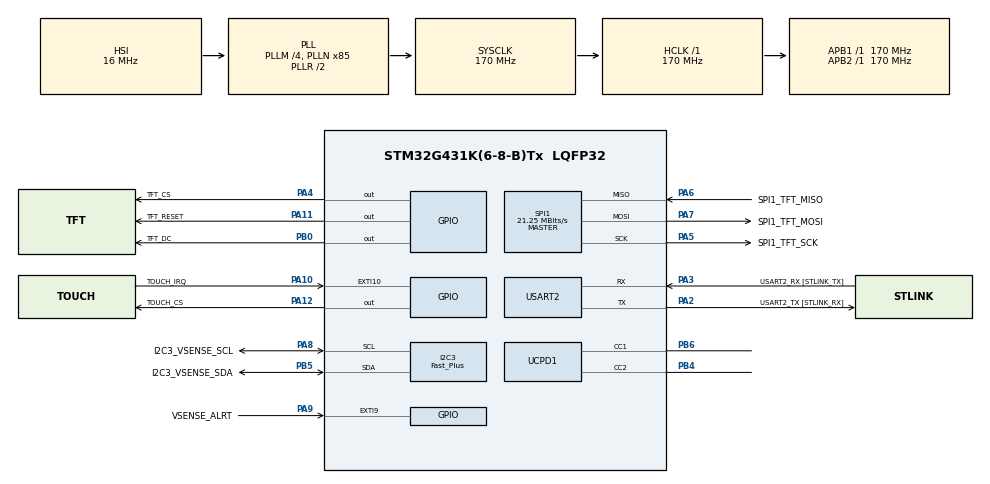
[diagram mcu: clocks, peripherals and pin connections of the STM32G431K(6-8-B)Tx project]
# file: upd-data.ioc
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Dma.Request0=UCPD1_RX
Dma.Request1=UCPD1_TX
Dma.Request2=SPI1_TX
Dma.SPI1_TX.2.Direction=DMA_MEMORY_TO_PERIPH
Dma.SPI1_TX.2.EventEnable=DISABLE
Dma.SPI1_TX.2.Instance=DMA1_Channel4
Dma.SPI1_TX.2.MemDataAlignment=DMA_MDATAALIGN_BYTE
Dma.SPI1_TX.2.MemInc=DMA_MINC_ENABLE
Dma.SPI1_TX.2.Mode=DMA_NORMAL
Dma.SPI1_TX.2.PeriphDataAlignment=DMA_PDATAALIGN_BYTE
Dma.SPI1_TX.2.PeriphInc=DMA_PINC_DISABLE
Dma.SPI1_TX.2.Polarity=HAL_DMAMUX_REQ_GEN_RISING
Dma.SPI1_TX.2.Priority=DMA_PRIORITY_LOW
Dma.SPI1_TX.2.RequestNumber=1
Dma.SPI1_TX.2.SignalID=NONE
Dma.SPI1_TX.2.SyncEnable=DISABLE
Dma.SPI1_TX.2.SyncPolarity=HAL_DMAMUX_SYNC_NO_EVENT
Dma.SPI1_TX.2.SyncRequestNumber=1
Dma.SPI1_TX.2.SyncSignalID=NONE
Dma.UCPD1_RX.0.Direction=DMA_PERIPH_TO_MEMORY
Dma.UCPD1_RX.0.EventEnable=DISABLE
Dma.UCPD1_RX.0.Instance=DMA1_Channel1
Dma.UCPD1_RX.0.MemDataAlignment=DMA_MDATAALIGN_BYTE
Dma.UCPD1_RX.0.MemInc=DMA_MINC_ENABLE
Dma.UCPD1_RX.0.Mode=DMA_NORMAL
Dma.UCPD1_RX.0.PeriphDataAlignment=DMA_PDATAALIGN_BYTE
Dma.UCPD1_RX.0.PeriphInc=DMA_PINC_DISABLE
Dma.UCPD1_RX.0.Polarity=HAL_DMAMUX_REQ_GEN_RISING
Dma.UCPD1_RX.0.Priority=DMA_PRIORITY_LOW
Dma.UCPD1_RX.0.RequestNumber=1
Dma.UCPD1_RX.0.SignalID=NONE
Dma.UCPD1_RX.0.SyncEnable=DISABLE
Dma.UCPD1_RX.0.SyncPolarity=HAL_DMAMUX_SYNC_NO_EVENT
Dma.UCPD1_RX.0.SyncRequestNumber=1
Dma.UCPD1_RX.0.SyncSignalID=NONE
Dma.UCPD1_TX.1.Direction=DMA_MEMORY_TO_PERIPH
Dma.UCPD1_TX.1.EventEnable=DISABLE
Dma.UCPD1_TX.1.Instance=DMA1_Channel2
Dma.UCPD1_TX.1.MemDataAlignment=DMA_MDATAALIGN_BYTE
Dma.UCPD1_TX.1.MemInc=DMA_MINC_ENABLE
Dma.UCPD1_TX.1.Mode=DMA_NORMAL
Dma.UCPD1_TX.1.PeriphDataAlignment=DMA_PDATAALIGN_BYTE
Dma.UCPD1_TX.1.PeriphInc=DMA_PINC_DISABLE
Dma.UCPD1_TX.1.Polarity=HAL_DMAMUX_REQ_GEN_RISING
Dma.UCPD1_TX.1.Priority=DMA_PRIORITY_LOW
Dma.UCPD1_TX.1.RequestNumber=1
Dma.UCPD1_TX.1.SignalID=NONE
Dma.UCPD1_TX.1.SyncEnable=DISABLE
Dma.UCPD1_TX.1.SyncPolarity=HAL_DMAMUX_SYNC_NO_EVENT
Dma.UCPD1_TX.1.SyncRequestNumber=1
Dma.UCPD1_TX.1.SyncSignalID=NONE
FREERTOS.Tasks01=defaultTask,0,128,StartDefaultTask,Default,NULL
FREERTOS.configENABLE_BACKWARD_COMPATIBILITY=0
FREERTOS.configLIBRARY_MAX_SYSCALL_INTERRUPT_PRIORITY=3
FREERTOS.configTOTAL_HEAP_SIZE=5000
FREERTOS.configUSE_COUNTING_SEMAPHORES=1
FREERTOS.configUSE_TIMERS=0
I2C3.I2C_Speed_Mode=I2C_Fast_Plus
I2C3.Timing=0x00802172
Mcu.Family=STM32G4
Mcu.Name=STM32G431K(6-8-B)Tx
Mcu.Package=LQFP32
NVIC.DMA1_Channel1_IRQn=true\:3\:0\:false\:false\:true\:true\:false\:true
NVIC.DMA1_Channel2_IRQn=true\:3\:0\:false\:false\:true\:true\:false\:true
NVIC.DMA1_Channel4_IRQn=true\:3\:0\:false\:false\:true\:true\:false\:true
NVIC.EXTI15_10_IRQn=true\:3\:0\:false\:false\:true\:true\:true\:true
NVIC.I2C3_ER_IRQn=true\:3\:0\:false\:false\:true\:true\:true\:true
NVIC.I2C3_EV_IRQn=true\:3\:0\:false\:false\:true\:true\:true\:true
NVIC.PriorityGroup=NVIC_PRIORITYGROUP_4
NVIC.SPI1_IRQn=true\:3\:0\:false\:false\:true\:true\:true\:true
NVIC.TIM6_DAC_IRQn=true\:0\:0\:false\:false\:true\:false\:false\:true
NVIC.TimeBase=TIM6_DAC_IRQn
NVIC.TimeBaseIP=TIM6
NVIC.UCPD1_IRQn=true\:5\:0\:true\:false\:true\:true\:true\:false
PA10.GPIO_Label=TOUCH_IRQ
PA10.GPIO_ModeDefaultEXTI=GPIO_MODE_IT_RISING_FALLING
PA10.Signal=GPXTI10
PA11.GPIO_Label=TFT_RESET
PA11.GPIO_PuPd=GPIO_PULLUP
PA11.PinState=GPIO_PIN_SET
PA11.Signal=GPIO_Output
PA12.GPIO_Label=TOUCH_CS
PA12.GPIO_Speed=GPIO_SPEED_FREQ_VERY_HIGH
PA12.PinState=GPIO_PIN_SET
PA12.Signal=GPIO_Output
PA13.GPIO_Label=T_SWDIO
PA13.Mode=Serial_Wire
PA13.Signal=SYS_JTMS-SWDIO
PA14.GPIO_Label=T_SWCLK
PA14.Mode=Serial_Wire
PA14.Signal=SYS_JTCK-SWCLK
PA2.GPIO_Label=USART2_TX [STLINK_RX]
PA2.Mode=Asynchronous
PA2.Signal=USART2_TX
PA3.GPIO_Label=USART2_RX [STLINK_TX]
PA3.Mode=Asynchronous
PA3.Signal=USART2_RX
PA4.GPIO_Label=TFT_CS
PA4.GPIO_Speed=GPIO_SPEED_FREQ_VERY_HIGH
PA4.PinState=GPIO_PIN_SET
PA4.Signal=GPIO_Output
PA5.GPIO_Label=SPI1_TFT_SCK
PA5.GPIO_Speed=GPIO_SPEED_FREQ_VERY_HIGH
PA5.Mode=Full_Duplex_Master
PA5.Signal=SPI1_SCK
PA6.GPIO_Label=SPI1_TFT_MISO
PA6.GPIO_Speed=GPIO_SPEED_FREQ_VERY_HIGH
PA6.Mode=Full_Duplex_Master
PA6.Signal=SPI1_MISO
PA7.GPIO_Label=SPI1_TFT_MOSI
PA7.GPIO_Speed=GPIO_SPEED_FREQ_VERY_HIGH
PA7.Mode=Full_Duplex_Master
PA7.Signal=SPI1_MOSI
PA8.GPIO_Label=I2C3_VSENSE_SCL
PA8.GPIO_PuPdOD=GPIO_NOPULL
PA8.GPIO_Speed=GPIO_SPEED_FREQ_VERY_HIGH
PA8.Mode=I2C
PA8.Signal=I2C3_SCL
PA9.GPIO_Label=VSENSE_ALRT
PA9.GPIO_ModeDefaultEXTI=GPIO_MODE_IT_FALLING
PA9.Signal=GPXTI9
PB0.GPIO_Label=TFT_DC
PB0.GPIO_Speed=GPIO_SPEED_FREQ_VERY_HIGH
PB0.Signal=GPIO_Output
PB3.Signal=SYS_JTDO-SWO
PB4.Mode=Sink_AllSignals
PB4.Signal=UCPD1_CC2
PB5.GPIO_Label=I2C3_VSENSE_SDA
PB5.GPIO_PuPdOD=GPIO_NOPULL
PB5.GPIO_Speed=GPIO_SPEED_FREQ_VERY_HIGH
PB5.Mode=I2C
PB5.Signal=I2C3_SDA
PB6.Mode=Sink_AllSignals
PB6.Signal=UCPD1_CC1
ProjectManager.HeapSize=0x1000
ProjectManager.StackSize=0x400
ProjectManager.TargetToolchain=STM32CubeIDE
RCC.ADC12Freq_Value=170000000
RCC.AHBFreq_Value=170000000
RCC.APB1Freq_Value=170000000
RCC.APB1TimFreq_Value=170000000
RCC.APB2Freq_Value=170000000
RCC.APB2TimFreq_Value=170000000
RCC.CortexFreq_Value=170000000
RCC.EXTERNAL_CLOCK_VALUE=12288000
RCC.HCLKFreq_Value=170000000
RCC.HSE_VALUE=8000000
RCC.HSI48_VALUE=48000000
RCC.HSI_VALUE=16000000
RCC.LSE_VALUE=32768
RCC.PLLM=RCC_PLLM_DIV4
RCC.PLLN=85
RCC.SYSCLKFreq_VALUE=170000000
RCC.SYSCLKSource=RCC_SYSCLKSOURCE_PLLCLK
RCC.USBFreq_Value=170000000
RCC.VCOOutputFreq_Value=340000000
SPI1.BaudRatePrescaler=SPI_BAUDRATEPRESCALER_8
SPI1.CalculateBaudRate=21.25 MBits/s
SPI1.DataSize=SPI_DATASIZE_8BIT
SPI1.Direction=SPI_DIRECTION_2LINES
SPI1.Mode=SPI_MODE_MASTER
SPI1.NSSPMode=SPI_NSS_PULSE_DISABLE
SPI1.VirtualType=VM_MASTER
USART2.VirtualMode-Asynchronous=VM_ASYNC
USART2.WordLength=WORDLENGTH_8B
USBPD.CAD_AccesorySupport_P0=USBPD_TRUE
USBPD.Is_Alert_Supported_P0=USBPD_TRUE
USBPD.Is_GetPPSStatus_Supported_P0=USBPD_TRUE
USBPD.Is_GetStatus_Supported_P0=USBPD_TRUE
USBPD.Is_SnkCapaExt_Supported_P0=USBPD_TRUE
USBPD.Is_SrcCapaExt_Supported_P0=USBPD_TRUE
USBPD.PE_AttemptsDiscovSOP_P0=USBPD_TRUE
USBPD.PE_CapscounterSupport_P0=USBPD_TRUE
USBPD.PE_RespondsToDiscovSOP_P0=USBPD_TRUE
USBPD.PE_SpecRevision_P0=USBPD_SPECIFICATION_REV3
USBPD.PE_VconnSwap_P0=USBPD_FALSE
USBPD.PORT0_NB_SINKPDO=2
USBPD.PORT0_SINK_PDO1=0x26019096
USBPD.PORT0_SINK_PDO2=0x02019096
VP_FREERTOS_VS_CMSIS_V1.Mode=CMSIS_V1
VP_SYS_VS_DBSignals.Mode=DisableDeadBatterySignals
VP_SYS_VS_tim6.Mode=TIM6
VP_USBPD_VS_USBPD1.Mode=USBPD_P0
VP_USBPD_VS_usbpd_tim1.Mode=TIM1
board=NUCLEO-G431KB

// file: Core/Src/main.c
/* USER CODE BEGIN Header */
/**
  ******************************************************************************
  * @file           : main.c
  * @brief          : Main program body
  ******************************************************************************
  * @attention
  *
  * <h2><center>&copy; Copyright (c) 2020 STMicroelectronics.
  * All rights reserved.</center></h2>
  *
  * This software component is licensed by ST under Ultimate Liberty license
  * SLA0044, the "License"; You may not use this file except in compliance with
  * the License. You may obtain a copy of the License at:
  *                             www.st.com/SLA0044
  *
  ******************************************************************************
  */
/* USER CODE END Header */

#include "main.h"
#include "cmsis_os.h"
#include "dma.h"
#include "i2c.h"
#include "spi.h"
#include "ucpd.h"
#include "usart.h"
#include "usbpd.h"
#include "gpio.h"

/* USER CODE BEGIN Includes */
#if defined(_GUI_INTERFACE)
#include "gui_api.h"
#endif
/* USER CODE END Includes */

/* USER CODE BEGIN PV */
extern osThreadId screenTaskHandle;

ili9341_t *_lcd;
ina260_t *_pow;
/* USER CODE END PV */

void SystemClock_Config(void);
void MX_FREERTOS_Init(void);

/* USER CODE BEGIN 0 */

ili9341_t *display(void)
{
  return _lcd;
}

ina260_t *power(void)
{
  return _pow;
}

void screenTouchBegin(ili9341_t *dev, uint16_t x, uint16_t y)
{
  ;
}

void screenTouchEnd(ili9341_t *dev, uint16_t x, uint16_t y)
{
  ;
}

/* USER CODE END 0 */

int main(void)
{

  /* MCU Configuration--------------------------------------------------------*/

  /* Reset of all peripherals, Initializes the Flash interface and the Systick. */
  HAL_Init();

  /* Configure the system clock */
  SystemClock_Config();

  /* Initialize all configured peripherals */
  MX_GPIO_Init();
  MX_USART2_UART_Init();
  MX_DMA_Init();
  MX_UCPD1_Init();
  MX_USBPD_Init();
  MX_SPI1_Init();
  MX_I2C3_Init();
  /* USER CODE BEGIN 2 */

  _pow = ina260_new(
      &hi2c3,
      INA260_SLAVE_ADDRESS);

  _lcd = ili9341_new(
      &hspi1,
      TFT_RESET_GPIO_Port, TFT_RESET_Pin,
      TFT_CS_GPIO_Port,    TFT_CS_Pin,
      TFT_DC_GPIO_Port,    TFT_DC_Pin,
      isoLandscape,
      TOUCH_CS_GPIO_Port,  TOUCH_CS_Pin,
      TOUCH_IRQ_GPIO_Port, TOUCH_IRQ_Pin,
      itsSupported,
      itnNormalized);

//  ili9341_calibrate_scalar(_lcd, 3763, 3931, 338, 211);
//  ili9341_calibrate_3point(_lcd, 320, 240,
//       13,    30,
//      312,   113,
//      167,   214,
//     8770,  4320,
//    18240, 30262,
//    30648, 17720);

  ili9341_set_touch_pressed_begin(_lcd, screenTouchBegin);
  ili9341_set_touch_pressed_end(_lcd, screenTouchEnd);

  /* USER CODE END 2 */

  /* Call init function for freertos objects (in freertos.c) */
  MX_FREERTOS_Init();

  /* Start scheduler */
  osKernelStart();

  /* We should never get here as control is now taken by the scheduler */

  /* Infinite loop */
  while (1)
  {

  }
}

void SystemClock_Config(void)
{
  RCC_OscInitTypeDef RCC_OscInitStruct = {0};
  RCC_ClkInitTypeDef RCC_ClkInitStruct = {0};
  RCC_PeriphCLKInitTypeDef PeriphClkInit = {0};

  /** Configure the main internal regulator output voltage
  */
  HAL_PWREx_ControlVoltageScaling(PWR_REGULATOR_VOLTAGE_SCALE1_BOOST);
  /** Initializes the CPU, AHB and APB busses clocks
  */
  RCC_OscInitStruct.OscillatorType = RCC_OSCILLATORTYPE_HSI;
  RCC_OscInitStruct.HSIState = RCC_HSI_ON;
  RCC_OscInitStruct.HSICalibrationValue = RCC_HSICALIBRATION_DEFAULT;
  RCC_OscInitStruct.PLL.PLLState = RCC_PLL_ON;
  RCC_OscInitStruct.PLL.PLLSource = RCC_PLLSOURCE_HSI;
  RCC_OscInitStruct.PLL.PLLM = RCC_PLLM_DIV4;
  RCC_OscInitStruct.PLL.PLLN = 85;
  RCC_OscInitStruct.PLL.PLLP = RCC_PLLP_DIV2;
  RCC_OscInitStruct.PLL.PLLQ = RCC_PLLQ_DIV2;
  RCC_OscInitStruct.PLL.PLLR = RCC_PLLR_DIV2;
  if (HAL_RCC_OscConfig(&RCC_OscInitStruct) != HAL_OK)
  {
    Error_Handler();
  }
  /** Initializes the CPU, AHB and APB busses clocks
  */
  RCC_ClkInitStruct.ClockType = RCC_CLOCKTYPE_HCLK|RCC_CLOCKTYPE_SYSCLK
                              |RCC_CLOCKTYPE_PCLK1|RCC_CLOCKTYPE_PCLK2;
  RCC_ClkInitStruct.SYSCLKSource = RCC_SYSCLKSOURCE_PLLCLK;
  RCC_ClkInitStruct.AHBCLKDivider = RCC_SYSCLK_DIV1;
  RCC_ClkInitStruct.APB1CLKDivider = RCC_HCLK_DIV1;
  RCC_ClkInitStruct.APB2CLKDivider = RCC_HCLK_DIV1;

  if (HAL_RCC_ClockConfig(&RCC_ClkInitStruct, FLASH_LATENCY_8) != HAL_OK)
  {
    Error_Handler();
  }
  /** Initializes the peripherals clocks
  */
  PeriphClkInit.PeriphClockSelection = RCC_PERIPHCLK_USART2|RCC_PERIPHCLK_I2C3;
  PeriphClkInit.Usart2ClockSelection = RCC_USART2CLKSOURCE_PCLK1;
  PeriphClkInit.I2c3ClockSelection = RCC_I2C3CLKSOURCE_PCLK1;
  if (HAL_RCCEx_PeriphCLKConfig(&PeriphClkInit) != HAL_OK)
  {
    Error_Handler();
  }
}

/* USER CODE BEGIN 4 */

void HAL_GPIO_EXTI_Callback(uint16_t GPIO_Pin)
{
  switch (GPIO_Pin)
  {
    case TOUCH_IRQ_Pin:
      ili9341_touch_interrupt(_lcd);
      break;

    default:
      // unhandled interrupt pin
      break;
  }
}

/* USER CODE END 4 */

void HAL_TIM_PeriodElapsedCallback(TIM_HandleTypeDef *htim)
{
  /* USER CODE BEGIN Callback 0 */
  USBPD_DPM_TimerCounter();
#if defined(_GUI_INTERFACE)
  GUI_TimerCounter();
#endif
  /* USER CODE END Callback 0 */
  if (htim->Instance == TIM6) {
    HAL_IncTick();
  }
}

void Error_Handler(void)
{
}

/************************ (C) COPYRIGHT STMicroelectronics *****END OF FILE****/

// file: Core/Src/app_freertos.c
/* USER CODE BEGIN Header */
/**
  ******************************************************************************
  * File Name          : app_freertos.c
  * Description        : Code for freertos applications
  ******************************************************************************
  * @attention
  *
  * <h2><center>&copy; Copyright (c) 2020 STMicroelectronics.
  * All rights reserved.</center></h2>
  *
  * This software component is licensed by ST under Ultimate Liberty license
  * SLA0044, the "License"; You may not use this file except in compliance with
  * the License. You may obtain a copy of the License at:
  *                             www.st.com/SLA0044
  *
  ******************************************************************************
  */
/* USER CODE END Header */

#include "FreeRTOS.h"
#include "task.h"
#include "main.h"
#include "cmsis_os.h"

/* USER CODE BEGIN Includes */

#include <stdlib.h>
#include <stdio.h>

#include "boing.h"
#include "ili9341_gfx.h"
#include "ili9341.h"
#include "ina260.h"
/* USER CODE END Includes */

/* USER CODE BEGIN PD */
//#define TEST_BOING
/* USER CODE END PD */

/* USER CODE BEGIN Variables */
osThreadId screenTaskHandle;
osSemaphoreId screenLockHandle;

/* USER CODE END Variables */
osThreadId defaultTaskHandle;

/* USER CODE BEGIN FunctionPrototypes */
void ScreenTask(void const * argument);
void testScreenFill(ili9341_t *lcd);
void testScreenLines(ili9341_t *lcd);
void testScreenRects(ili9341_t *lcd);
void testScreenCircles(ili9341_t *lcd);
void testScreenText(ili9341_t *lcd);
void testVoltageCurrentText(ili9341_t *lcd, ina260_t *pow);
#if defined(TEST_BOING)
void testBoing(ili9341_t *lcd);
static ili9341_bool_t _boingInitialized;
#endif
/* USER CODE END FunctionPrototypes */

void StartDefaultTask(void const * argument);

void MX_FREERTOS_Init(void); /* (MISRA C 2004 rule 8.1) */

void MX_FREERTOS_Init(void) {

  /* USER CODE BEGIN RTOS_SEMAPHORES */
  osSemaphoreDef(screenLock);
  screenLockHandle = osSemaphoreCreate(osSemaphore(screenLock), 1);
  /* USER CODE END RTOS_SEMAPHORES */

  /* Create the thread(s) */
  /* definition and creation of defaultTask */
  osThreadDef(defaultTask, StartDefaultTask, osPriorityNormal, 0, configMINIMAL_STACK_SIZE);
  defaultTaskHandle = osThreadCreate(osThread(defaultTask), NULL);

  /* USER CODE BEGIN RTOS_THREADS */
#if defined(TEST_BOING)
  _boingInitialized = ibFalse;
#endif
  osThreadDef(screenTask, ScreenTask, osPriorityNormal, 0, 1024);
  screenTaskHandle = osThreadCreate(osThread(screenTask), NULL);
  /* USER CODE END RTOS_THREADS */

}

void StartDefaultTask(void const * argument)
{
  for(;;)
  {
    osDelay(1);
  }
}

/* USER CODE BEGIN Application */
void ScreenTask(void const * argument)
{
  static uint8_t suite = 1;

  for (;;)
  {
    if (NULL != screenLockHandle)
    {
      if (osOK == osSemaphoreWait(screenLockHandle, osWaitForever))
      {
        ili9341_t *lcd = display();
        ina260_t *pow = power();

        switch (suite) {

          case 0:
            testScreenFill(lcd);
            testScreenLines(lcd);
            osDelay(2000);
            testScreenRects(lcd);
            osDelay(2000);
            testScreenCircles(lcd);
            osDelay(2000);
            //testScreenText(lcd);
            //osDelay(1000);
#if defined(TEST_BOING)
            ++suite;
#endif
            break;

          case 1:
#if defined(TEST_BOING)
            testBoing(lcd);
#endif
            break;

          case 2:
            testVoltageCurrentText(lcd, pow);
            osDelay(250);
            break;

        }

        osSemaphoreRelease(screenLockHandle);
      }
    }
  }
}

void testScreenFill(ili9341_t *lcd)
{
  ili9341_fill_screen(lcd, ILI9341_BLUE);
  osDelay(500);
  ili9341_fill_screen(lcd, ILI9341_RED);
  osDelay(500);
  ili9341_fill_screen(lcd, ILI9341_GREEN);
  osDelay(500);
}

void testScreenLines(ili9341_t *lcd)
{
  ili9341_fill_screen(lcd, ILI9341_BLACK);

  ili9341_color_t color;
  uint8_t wheel = 0U;

  for (int32_t i = 0; i < lcd->screen_size.height; i += 10)
    { color = ili9341_color_wheel(&wheel); wheel += 3;
      ili9341_draw_line(lcd, color, 0, 0, lcd->screen_size.width, i); }
  for (int32_t i = lcd->screen_size.width; i >= 0; i -= 10)
    { color = ili9341_color_wheel(&wheel); wheel += 3;
      ili9341_draw_line(lcd, color, 0, 0, i, lcd->screen_size.height); }

  osDelay(500);

  for (int32_t i = 0; i < lcd->screen_size.height; i += 10)
    { color = ili9341_color_wheel(&wheel); wheel += 3;
      ili9341_draw_line(lcd, color, lcd->screen_size.width, lcd->screen_size.height, 0, lcd->screen_size.height - i); }
  for (int32_t i = lcd->screen_size.width; i >= 0; i -= 10)
    { color = ili9341_color_wheel(&wheel); wheel += 3;
      ili9341_draw_line(lcd, color, lcd->screen_size.width, lcd->screen_size.height, lcd->screen_size.width - i, 0); }
}

void testScreenRects(ili9341_t *lcd)
{
  ili9341_fill_screen(lcd, ILI9341_BLACK);

  ili9341_color_t color;
  uint8_t wheel = 0U;

  for (uint16_t i = 0, in = 0; i < lcd->screen_size.width; i += 16, ++in) {
    for (uint16_t j = 0, jn = 0; j < lcd->screen_size.height; j += 16, ++jn) {
      color = ili9341_color_wheel(&wheel);
      if ((in & 1) == (jn & 1)) {
        ili9341_fill_rect(lcd, color, i, j, 16, 16);
      } else {
        ili9341_draw_rect(lcd, ~color, i+2, j+2, 12, 12);
      }
    }
  }
}

void testScreenCircles(ili9341_t *lcd)
{
  ili9341_fill_screen(lcd, ILI9341_BLACK);

  uint16_t x_mid = lcd->screen_size.width / 2;
  uint16_t y_mid = lcd->screen_size.height / 2;
  uint16_t radius = x_mid;
  if (radius < y_mid)
    { radius = y_mid; }

  ili9341_color_t color;
  uint8_t wheel = 0U;

  for (int16_t i = radius; i >= 0; i -= 6) {
    color = ili9341_color_wheel(&wheel);
    wheel += 9;
    ili9341_fill_circle(lcd, color, x_mid, y_mid, i);
  }

  osDelay(500);

  for (int16_t i = 0, n = 0; i < lcd->screen_size.width; i += 24, ++n) {
    for (int16_t j = 0, m = 0; j < lcd->screen_size.height; j += 24, ++m) {

      color = ili9341_color_wheel(&wheel);
      wheel += 3;

      if ((n & 1) == (m & 1)) {
        ili9341_draw_circle(lcd, color, i + 12, j + 12, 16);
        ili9341_draw_circle(lcd, color, i + 12, j + 12, 10);
        ili9341_draw_circle(lcd, color, i + 12, j + 12, 4);
      }
      else {
        ili9341_draw_circle(lcd, color, i + 12, j + 12, 8);
      }
    }
  }
}

void testScreenText(ili9341_t *lcd)
{
  ili9341_fill_screen(lcd, ILI9341_BLACK);

  ili9341_text_attr_t textAttr = (ili9341_text_attr_t){
    .font = &ili9341_font_11x18,
    .fg_color = ILI9341_WHITE,
    .bg_color = ILI9341_RED,
    .origin_x = 10,
    .origin_y = 10
  };
  ili9341_draw_string(lcd, textAttr, "Hello world!");

}

void testVoltageCurrentText(ili9341_t *lcd, ina260_t *pow)
{
  ili9341_text_attr_t textAttr = (ili9341_text_attr_t){
    .font = &ili9341_font_11x18,
    .fg_color = ILI9341_WHITE,
    .bg_color = ILI9341_BLACK,
    .origin_x = 10,
    .origin_y = 10
  };

  ili9341_fill_rect(lcd, ILI9341_BLACK, 10, 10, lcd->screen_size.width - 20, textAttr.font->height);

  float v, c, p;
  (void)ina260_get_voltage(pow, &v);
  (void)ina260_get_current(pow, &c);
  (void)ina260_get_power(pow, &p);

  {
    char vsenseStr[64] = { '\0' };
    snprintf(vsenseStr, 64, "%dmV, %dmA, %dmW", (int16_t)v, (int16_t)c, (int16_t)p);
    ili9341_draw_string(lcd, textAttr, vsenseStr);
  }
}

#if defined(TEST_BOING)
void testBoing(ili9341_t *lcd)
{
  static boing_ball_t ball;

  if (ibNOT(_boingInitialized)) {
    ili9341_draw_bitmap_1b(lcd, BOING_COLOR_PLOT_SHADOW, BOING_COLOR_PLOT_COLOR,
        0, 0, 320, 240, (uint8_t *)BOING_PLOT);
    _boingInitialized = ibTrue;
    boing_init(&ball);
  }
  else {
    boing(lcd, &ball);
  }
}
#endif
/* USER CODE END Application */

/************************ (C) COPYRIGHT STMicroelectronics *****END OF FILE****/
